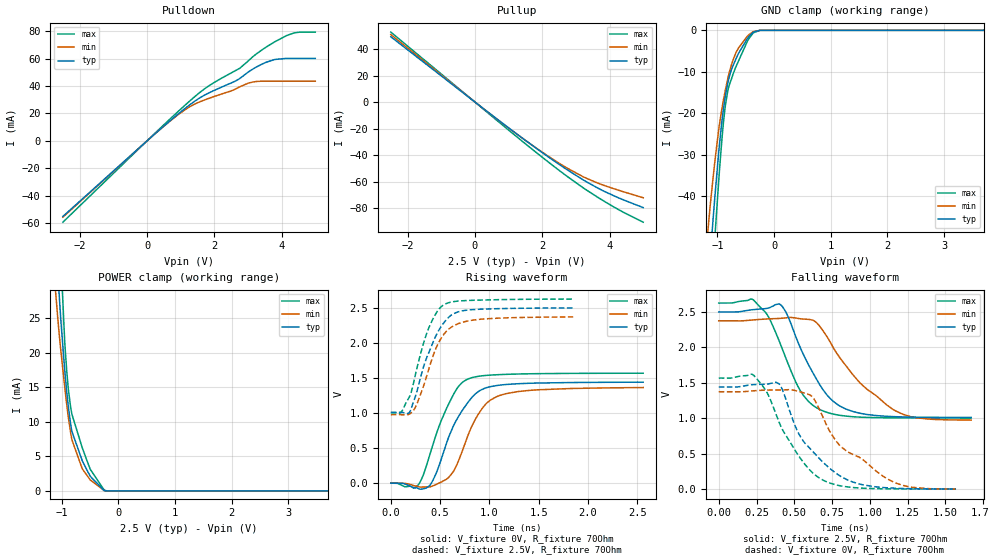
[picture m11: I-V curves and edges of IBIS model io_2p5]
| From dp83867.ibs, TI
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|   io_2p5 Model
[Model]   io_2p5
Model_type   I/O
Polarity   Non-Inverting
Enable   Active-Low
Vinl = 0.7
Vinh = 1.7
Vmeas = 1.25
Vref = 0
Cref = 5pF
Rref = 70
|   typ   min   max
|   (nom PVT)   (fast PVT)   (slow PVT)
C_comp   1.992e-12   1.422e-12   2.026e-12
| Where nom  PVT is Nominal Process, 2.5V, 27C
|   Fast PVT is Strong Process,  2.625V, -40C
|   Slow PVT is Weak Process,   2.375V, 125C
[Voltage Range]   2.5   2.375   2.625
|Junction Temperature
[Temperature Range]   27   125   -40
[Pullup Reference]   2.5   2.375   2.625
[Pulldown Reference]   0   0   0
[Power Clamp Reference]   2.5   2.375   2.625
[GND Clamp Reference]   0   0   0
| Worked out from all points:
|   slope of the pulldown table from 0 to 0.375 V, typ, clamps not added: 46.3 ohm
|   slope of the pullup table from 0 to 0.375 V, typ, clamps not added: 50.9 ohm
|   GND clamp passes 1 mA (typ) near -0.41 V on its own axis
|   POWER clamp passes 1 mA (typ) near -0.36 V on its own axis
|   falling waveform, V_fixture 2.5V, R_fixture 70Ohm: 20-80 % time 224ps typ, 344ps min, 200ps max; typ from 2.5 V to 1.01 V
|   rising waveform, V_fixture 0V, R_fixture 70Ohm: 20-80 % time 284ps typ, 269ps min, 256ps max; typ from 0 V to 1.44 V
|   rising waveform, V_fixture 2.5V, R_fixture 70Ohm: 20-80 % time 231ps typ, 224ps min, 200ps max; typ from 1.01 V to 2.5 V
|   falling waveform, V_fixture 0V, R_fixture 70Ohm: 20-80 % time 275ps typ, 359ps min, 241ps max; typ from 1.44 V to 0.001 V
[Pulldown]
|   Voltage   I(typ)   I(min)   I(max)
-2.5V     -55.1mA    -55.64mA   -59.29mA
363.9mV   7.86mA     7.831mA    8.539mA
977.5mV   20.61mA    20.02mA    22.61mA
1.407V    28.72mA    26.69mA    31.97mA
1.85V     35.07mA    31.08mA    40.31mA
2.618V    43.46mA    37.64mA    51.05mA
2.757V    45.47mA    39.43mA    52.95mA
3.001V    50.03mA    41.99mA    58.09mA
3.55V     57.37mA    43.5mA     68.51mA
3.799V    59.33mA    43.5mA     72.26mA
4.359V    60.11mA    43.5mA     78.58mA
5V        60.11mA    43.5mA     79.28mA
[GND Clamp]
|   Voltage   I(typ)   I(min)   I(max)
-2.5V     -327.1mA   -271mA     -377.5mA
-1.22V    -71.79mA   -56.19mA   -87.35mA
-1.137V   -56.37mA   -43.59mA   -69.12mA
-1.077V   -45.64mA   -35.62mA   -56.48mA
-1.037V   -38.85mA   -30.64mA   -48.24mA
-964.4mV  -27.52mA   -22.66mA   -33.82mA
-896.9mV  -19.29mA   -17.04mA   -22.66mA
-822.6mV  -13.07mA   -11.99mA   -15.03mA
-755mV    -9.561mA   -8.429mA   -11.85mA
-635.6mV  -5.792mA   -4.414mA   -7.647mA
-368.5mV  -447.5uA   -330.2uA   -640.6uA
5V        0A         0A         0A
[Pullup]
|   Voltage   I(typ)   I(min)   I(max)
-2.5V     49.25mA    50.87mA    52.76mA
651.6mV   -12.76mA   -12.88mA   -13.85mA
1.55V     -29.87mA   -29.86mA   -32.56mA
2.326V    -43.98mA   -43.35mA   -48.14mA
2.756V    -51.37mA   -50.08mA   -56.4mA
3.207V    -58.6mA    -56.26mA   -64.57mA
3.63V     -64.65mA   -60.98mA   -71.58mA
4.275V    -72.36mA   -66.61mA   -81.3mA
5V        -79.68mA   -72.23mA   -90.66mA
[POWER Clamp]
|   Voltage   I(typ)   I(min)   I(max)
-2.5V     386mA      304.8mA    468mA
-1.109V   39.34mA    29.14mA    55.19mA
-1.043V   28.55mA    22.79mA    40.23mA
-1.01V    24.31mA    20.05mA    33.3mA
-945mV    17.53mA    15.08mA    21.58mA
-888.2mV  12.71mA    11.11mA    15.35mA
-838.4mV  9.559mA    8.316mA    12mA
-817.4mV  8.596mA    7.391mA    11.09mA
-635.6mV  4.376mA    3.212mA    6.253mA
-491.9mV  2.104mA    1.576mA    3.102mA
-248.5mV  47.85uA    58.56uA    116.4uA
5V        0A         0A         0A
[Ramp]
R_load = 70
|   typ   min   max
dV/dt_r   0.864782/2.84886e-10   0.823988/2.72614e-10   0.94006/2.56293e-10
dV/dt_f   0.893513/2.23964e-10   0.839575/3.42324e-10   0.973376/2.00406e-10
[Falling Waveform]
V_fixture = 2.5V
V_fixture_min = 2.375V
V_fixture_max = 2.625V
R_fixture = 70Ohm
|   Time   V(typ)   V(min)   V(max)
0s        2.5V       2.375V     2.625V
230ps     2.533V     2.387V     2.669V
320ps     2.551V     2.401V     2.463V
410ps     2.601V     2.409V     2.036V
540ps     1.994V     2.403V     1.388V
680ps     1.434V     2.264V     1.112V
850ps     1.123V     1.717V     1.028V
1.16ns    1.022V     1.115V     1.005V
1.31ns    1.015V     1.006V     1.003V
1.67ns    1.011V     974mV      1.003V
[Rising Waveform]
V_fixture = 0V
V_fixture_min = 0V
V_fixture_max = 0V
R_fixture = 70Ohm
|   Time   V(typ)   V(min)   V(max)
0s        52.45uV    147.2uV    40.87uV
260ps     -64.93mV   -41.5mV    -51.39mV
330ps     -80.35mV   -53.95mV   119.3mV
390ps     -39.02mV   -52.97mV   380.2mV
510ps     334.9mV    15.28mV    886.5mV
630ps     800.7mV    156.7mV    1.249V
780ps     1.146V     671.1mV    1.482V
960ps     1.356V     1.122V     1.535V
1.16ns    1.405V     1.272V     1.55V
2.56ns    1.439V     1.363V     1.567V
[Rising Waveform]
V_fixture = 2.5V
V_fixture_min = 2.375V
V_fixture_max = 2.625V
R_fixture = 70Ohm
|   Time   V(typ)   V(min)   V(max)
0s        1.011V     975.7mV    1.003V
100ps     1.009V     975.5mV    1.003V
190ps     1.011V     986.5mV    1.234V
260ps     1.283V     1.114V     1.611V
370ps     1.808V     1.554V     2.157V
460ps     2.107V     1.929V     2.422V
540ps     2.289V     2.125V     2.544V
650ps     2.423V     2.252V     2.589V
850ps     2.475V     2.327V     2.606V
1.85ns    2.497V     2.369V     2.623V
[Falling Waveform]
V_fixture = 0V
V_fixture_min = 0V
V_fixture_max = 0V
R_fixture = 70Ohm
|   Time   V(typ)   V(min)   V(max)
0s        1.441V     1.373V     1.567V
230ps     1.474V     1.387V     1.608V
320ps     1.481V     1.397V     1.36V
400ps     1.484V     1.398V     941.5mV
520ps     822.4mV    1.382V     497.5mV
610ps     559.1mV    1.32V      252.7mV
700ps     359mV      965.7mV    115.9mV
810ps     175.7mV    595.4mV    44.13mV
1.14ns    14.83mV    116mV      2.885mV
1.57ns    649.3uV    -1.237mV   303.6uV
